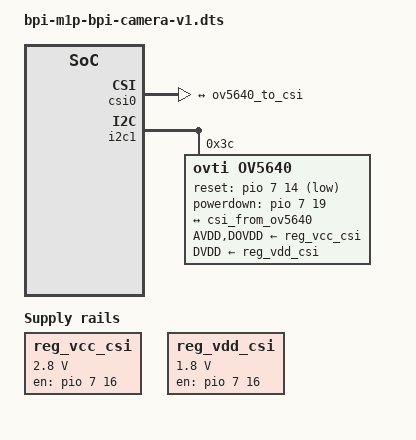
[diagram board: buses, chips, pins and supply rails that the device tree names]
// SPDX-License-Identifier: (GPL-2.0+ OR MIT)
//
// Copyright (C) 2018 Chen-Yu Tsai <wens@csie.org>
//
// Bananapi camera v1 module based on OV5640

#ifdef __DTO_TEST__
#include <arm/sun7i-a20-bananapi-m1-plus.dts>
#else
/dts-v1/;
/plugin/;
#endif

#include <dt-bindings/clock/sun4i-a10-ccu.h>
#include <dt-bindings/gpio/gpio.h>

&{/} {
	reg_vcc_csi: vcc-csi {
		compatible = "regulator-fixed";
		regulator-name = "vcc-csi";
		regulator-min-microvolt = <2800000>;
		regulator-max-microvolt = <2800000>;
		startup-delay-us = <200>; /* 50 us + board delays */
		enable-active-high;
		gpio = <&pio 7 16 GPIO_ACTIVE_HIGH>; /* PH16 */
	};

	reg_vdd_csi: vdd-csi {
		compatible = "regulator-fixed";
		regulator-name = "vdd-csi";
		regulator-min-microvolt = <1800000>;
		regulator-max-microvolt = <1800000>;
		startup-delay-us = <200>; /* 50 us + board delays */
		enable-active-high;
		gpio = <&pio 7 16 GPIO_ACTIVE_HIGH>; /* PH16 */
	};
};

&csi0 {
	pinctrl-names = "default";
	pinctrl-0 = <&csi0_8bits_pins>;
	status = "okay";

	port {
		/* Parallel bus endpoint */
		csi_from_ov5640: endpoint {
			remote-endpoint = <&ov5640_to_csi>;
			bus-width = <8>;
			hsync-active = <1>; /* Active high */
			vsync-active = <1>; /* Active high */
			data-active = <1>;  /* Active high */
			pclk-sample = <1>;  /* Rising */
		};
	};
};

&i2c1 {
	status = "okay";

	ov5640: camera@3c {
		compatible = "ovti,ov5640";
		reg = <0x3c>;
		pinctrl-names = "default";
		pinctrl-0 = <&csi0_clk_pin>;
		clocks = <&ccu CLK_CSI0>;
		clock-names = "xclk";

		reset-gpios = <&pio 7 14 GPIO_ACTIVE_LOW>; /* PH14 */
		powerdown-gpios = <&pio 7 19 GPIO_ACTIVE_HIGH>; /* PH19 */
		AVDD-supply = <&reg_vcc_csi>;
		DOVDD-supply = <&reg_vcc_csi>;
		DVDD-supply = <&reg_vdd_csi>;

		port {
			ov5640_to_csi: endpoint {
				remote-endpoint = <&csi_from_ov5640>;
				bus-width = <8>;
				data-shift = <2>;
				hsync-active = <1>; /* Active high */
				vsync-active = <1>; /* Active high */
				data-active = <1>;  /* Active high */
				pclk-sample = <1>;  /* Rising */
			};
		};
	};
};
